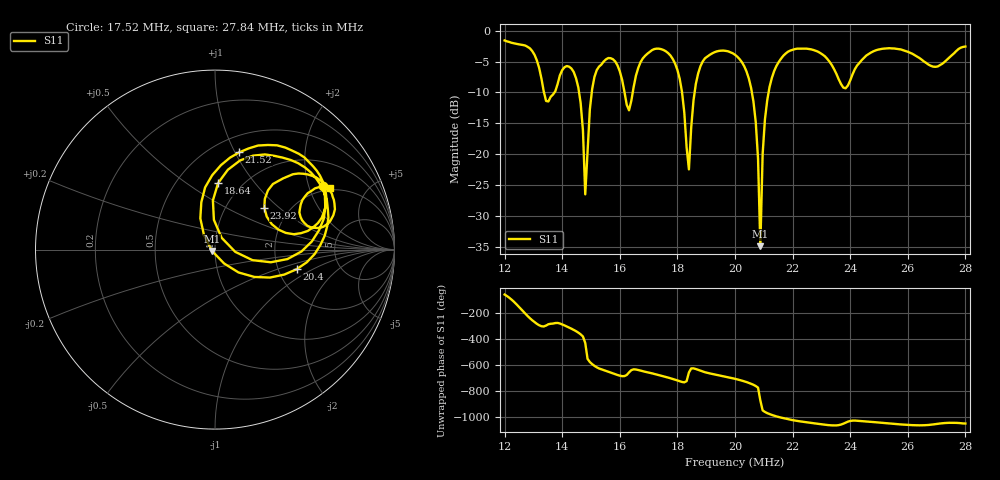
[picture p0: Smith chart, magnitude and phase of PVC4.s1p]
!Keysight Technologies N9916A: A.13.10
!Date: Monday, 17 November 2025 21:44:46
!TimeZone: (UTC-06:00) Central Time (US & Canada)!Model: N9916A
!Serial: MY57273160
!GPS Latitude:
!GPS Longitude:
!GPS TimeStamp: 0001-01-01 00:00:00Z
!GPS Seconds Since Last Read: 0
!CHECKSUM:0140247554
!Correction: S11(ON U)
!S1P File: Measurement: S11:
# Hz S DB R 50
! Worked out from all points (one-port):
!   201 points, 12 MHz to 28 MHz, reference 50 ohm
!   lowest |S11| = -34.9 dB at 20.88 MHz (marker M1), VSWR 1.04, Z = 48.4 - j0.712 ohm
!   |S11| at or under -10 dB: 14.59 MHz to 15.03 MHz (440.7 kHz wide, 2.98 % of centre); 18.16 MHz to 18.6 MHz (435.9 kHz wide, 2.37 % of centre); 20.59 MHz to 21.17 MHz (579.6 kHz wide, 2.78 % of centre)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
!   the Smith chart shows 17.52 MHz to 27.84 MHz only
!   S11 on the Smith chart (normalised r, x): 17.52 MHz: 1.79, +2.48; 18.64 MHz: 0.78, +0.67; 20.4 MHz: 2.52, -0.71; 21.52 MHz: 0.66, +1.04; 23.92 MHz: 1.50, +0.80; 27.84 MHz: 1.92, +2.80
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1.2e7  -1.58 -56.6
1.232e7  -2.05 -111.7
1.256e7  -2.26 -167.4
1.296e7  -3.30 104.3
1.344e7  -11.37 63.4
1.4e7  -6.38 72.4
1.456e7  -9.20 8.8
1.48e7  -26.47 -71.4
1.512e7  -7.47 111.8
1.6e7  -6.58 36.0
1.648e7  -9.14 84.9
1.752e7  -3.14 30.7
1.8e7  -6.34 -1.2
1.84e7  -22.44 60.8
1.864e7  -8.61 87.3
2e7  -3.90 11.8
2.04e7  -6.61 -13.6
2.072e7  -14.77 -44.2
2.088e7  -34.85 -156.0
2.104e7  -14.32 115.2
2.152e7  -5.06 76.0
2.2e7  -3.10 51.9
2.296e7  -3.61 21.2
2.392e7  -8.88 40.2
2.4e7  -8.05 45.5
2.6e7  -3.42 15.2
2.784e7  -2.75 28.0
2.8e7  -2.56 25.7
